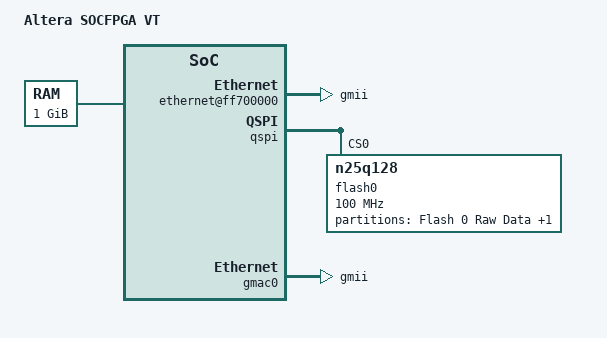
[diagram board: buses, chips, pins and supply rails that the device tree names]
// SPDX-License-Identifier: GPL-2.0+
/*
 * Copyright (C) 2013 Altera Corporation <www.altera.com>
 */

/dts-v1/;
#include "socfpga.dtsi"

/ {
	model = "Altera SOCFPGA VT";
	compatible = "altr,socfpga-vt", "altr,socfpga";

	chosen {
		bootargs = "console=ttyS0,57600";
	};

	memory@0 {
		name = "memory";
		device_type = "memory";
		reg = <0x0 0x40000000>; /* 1 GB */
	};

	soc {
		clkmgr@ffd04000 {
			clocks {
				osc1 {
					clock-frequency = <10000000>;
				};
			};
		};

		dwmmc0@ff704000 {
			broken-cd;
			bus-width = <4>;
			cap-mmc-highspeed;
			cap-sd-highspeed;
		};

		ethernet@ff700000 {
			phy-mode = "gmii";
			status = "okay";
		};

		timer0@ffc08000 {
			clock-frequency = <7000000>;
		};

		qspi: spi@ff705000 {
			status = "okay";
			flash0: n25q128@0 {
				#address-cells = <1>;
				#size-cells = <1>;
				compatible = "n25q128";
				reg = <0>;      /* chip select */
				spi-max-frequency = <100000000>;
				page-size = <256>;
				block-size = <16>; /* 2^16, 64KB */
				quad = <1>;        /* 1-support quad */
				tshsl-ns = <200>;
				tsd2d-ns = <255>;
				tchsh-ns = <20>;
				tslch-ns = <20>;

				partition@0 {
					/* 8MB for raw data. */
					label = "Flash 0 Raw Data";
					reg = <0x0 0x800000>;
				};
				partition@800000 {
					/* 8MB for jffs2 data. */
					label = "Flash 0 jffs2 Filesystem";
					reg = <0x800000 0x800000>;
				};
			};
		};

		timer1@ffc09000 {
			clock-frequency = <7000000>;
		};

		timer2@ffd00000 {
			clock-frequency = <7000000>;
		};

		timer3@ffd01000 {
			clock-frequency = <7000000>;
		};

		serial0@ffc02000 {
			clock-frequency = <7372800>;
		};

		serial1@ffc03000 {
			clock-frequency = <7372800>;
		};

		sysmgr@ffd08000 {
			cpu1-start-addr = <0xffd08010>;
		};
	};
};

&gmac0 {
	status = "okay";
	phy-mode = "gmii";
};
